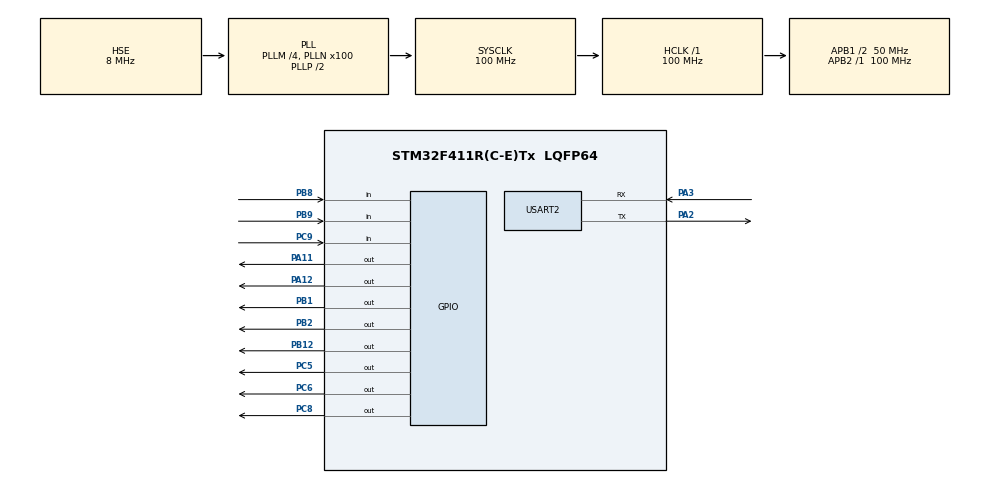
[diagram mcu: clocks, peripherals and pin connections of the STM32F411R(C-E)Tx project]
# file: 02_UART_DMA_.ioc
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Dma.Request0=USART2_RX
Dma.USART2_RX.0.Direction=DMA_PERIPH_TO_MEMORY
Dma.USART2_RX.0.FIFOMode=DMA_FIFOMODE_DISABLE
Dma.USART2_RX.0.Instance=DMA1_Stream5
Dma.USART2_RX.0.MemDataAlignment=DMA_MDATAALIGN_BYTE
Dma.USART2_RX.0.MemInc=DMA_MINC_ENABLE
Dma.USART2_RX.0.Mode=DMA_NORMAL
Dma.USART2_RX.0.PeriphDataAlignment=DMA_PDATAALIGN_BYTE
Dma.USART2_RX.0.PeriphInc=DMA_PINC_DISABLE
Dma.USART2_RX.0.Priority=DMA_PRIORITY_LOW
Mcu.Family=STM32F4
Mcu.Name=STM32F411R(C-E)Tx
Mcu.Package=LQFP64
NVIC.DMA1_Stream5_IRQn=true\:0\:0\:false\:false\:true\:false\:true\:true
NVIC.PriorityGroup=NVIC_PRIORITYGROUP_4
PA11.Signal=GPIO_Output
PA12.Signal=GPIO_Output
PA13.Mode=Serial_Wire
PA13.Signal=SYS_JTMS-SWDIO
PA14.Mode=Serial_Wire
PA14.Signal=SYS_JTCK-SWCLK
PA2.Mode=Asynchronous
PA2.Signal=USART2_TX
PA3.Mode=Asynchronous
PA3.Signal=USART2_RX
PB1.Signal=GPIO_Output
PB12.Signal=GPIO_Output
PB2.Signal=GPIO_Output
PB8.Signal=GPIO_Input
PB9.Signal=GPIO_Input
PC5.Signal=GPIO_Output
PC6.Signal=GPIO_Output
PC8.Signal=GPIO_Output
PC9.Signal=GPIO_Input
PH0\ -\ OSC_IN.Mode=HSE-External-Clock-Source
PH0\ -\ OSC_IN.Signal=RCC_OSC_IN
PH1\ -\ OSC_OUT.Mode=HSE-External-Clock-Source
PH1\ -\ OSC_OUT.Signal=RCC_OSC_OUT
ProjectManager.HeapSize=0x200
ProjectManager.StackSize=0x400
ProjectManager.TargetToolchain=STM32CubeIDE
RCC.48MHZClocksFreq_Value=50000000
RCC.AHBFreq_Value=100000000
RCC.APB1CLKDivider=RCC_HCLK_DIV2
RCC.APB1Freq_Value=50000000
RCC.APB1TimFreq_Value=100000000
RCC.APB2Freq_Value=100000000
RCC.APB2TimFreq_Value=100000000
RCC.CortexFreq_Value=100000000
RCC.HCLKFreq_Value=100000000
RCC.HSE_VALUE=8000000
RCC.HSI_VALUE=16000000
RCC.LSE_VALUE=32768
RCC.PLLM=4
RCC.PLLN=100
RCC.PLLSourceVirtual=RCC_PLLSOURCE_HSE
RCC.SYSCLKFreq_VALUE=100000000
RCC.SYSCLKSource=RCC_SYSCLKSOURCE_PLLCLK
RCC.VCOOutputFreq_Value=200000000
USART2.VirtualMode=VM_ASYNC
board=custom

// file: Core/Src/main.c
/* USER CODE BEGIN Header */
/**
  ******************************************************************************
  * @file           : main.c
  * @brief          : Main program body
  ******************************************************************************
  * @attention
  *
  * Copyright (c) 2026 STMicroelectronics.
  * All rights reserved.
  *
  * This software is licensed under terms that can be found in the LICENSE file
  * in the root directory of this software component.
  * If no LICENSE file comes with this software, it is provided AS-IS.
  *
  ******************************************************************************
  */
/* USER CODE END Header */
#include "main.h"
#include "dma.h"
#include "usart.h"
#include "gpio.h"

/* USER CODE BEGIN Includes */

#include "led.h"
#include "button.h"

/* USER CODE END Includes */

/* USER CODE BEGIN PV */

uint8_t rxData[10];

/* USER CODE END PV */

void SystemClock_Config(void);
/* USER CODE BEGIN PFP */

void HAL_UART_RxCpltCallback(UART_HandleTypeDef *huart)
{
	HAL_UART_Receive_DMA(&huart2, rxData, 1);
}

/* USER CODE END PFP */

int main(void)
{

  /* MCU Configuration--------------------------------------------------------*/

  /* Reset of all peripherals, Initializes the Flash interface and the Systick. */
  HAL_Init();

  /* Configure the system clock */
  SystemClock_Config();

  /* Initialize all configured peripherals */
  MX_GPIO_Init();
  MX_DMA_Init();
  MX_USART2_UART_Init();
  /* USER CODE BEGIN 2 */

  HAL_UART_Receive_DMA(&huart2, rxData, 1);
  uint8_t i = 0;

  /* USER CODE END 2 */

  /* Infinite loop */
  /* USER CODE BEGIN WHILE */
  while (1)
  {

	  if (rxData[0] == 'a') //a 들어가면 LED ON
	  		{
	  			ledSingleOn(i);
	  		}
	  		if (rxData[0] == 'b') //b 들어가면 LED OFF
	  		{
	  			ledSingleOff(i);

	  		}
	  		if (rxData[0] == 'c') //c 들어가면 왼쪽으로 이동
	  		{
	  			ledLeft(&i);
	  			rxData[0] = NULL;	//계속 c인 상태를 반복하므로 rxData를 0으로 초기화
	  		}

	  		if (rxData[0] == 'd') //d 들어가면 오른쪽으로 이동
	  		{
	  			ledRight(&i);
	  			rxData[0] = NULL;
	  		}

    /* USER CODE END WHILE */

  }
}

void SystemClock_Config(void)
{
  RCC_OscInitTypeDef RCC_OscInitStruct = {0};
  RCC_ClkInitTypeDef RCC_ClkInitStruct = {0};

  /** Configure the main internal regulator output voltage
  */
  __HAL_RCC_PWR_CLK_ENABLE();
  __HAL_PWR_VOLTAGESCALING_CONFIG(PWR_REGULATOR_VOLTAGE_SCALE1);

  /** Initializes the RCC Oscillators according to the specified parameters
  * in the RCC_OscInitTypeDef structure.
  */
  RCC_OscInitStruct.OscillatorType = RCC_OSCILLATORTYPE_HSE;
  RCC_OscInitStruct.HSEState = RCC_HSE_BYPASS;
  RCC_OscInitStruct.PLL.PLLState = RCC_PLL_ON;
  RCC_OscInitStruct.PLL.PLLSource = RCC_PLLSOURCE_HSE;
  RCC_OscInitStruct.PLL.PLLM = 4;
  RCC_OscInitStruct.PLL.PLLN = 100;
  RCC_OscInitStruct.PLL.PLLP = RCC_PLLP_DIV2;
  RCC_OscInitStruct.PLL.PLLQ = 4;
  if (HAL_RCC_OscConfig(&RCC_OscInitStruct) != HAL_OK)
  {
    Error_Handler();
  }

  /** Initializes the CPU, AHB and APB buses clocks
  */
  RCC_ClkInitStruct.ClockType = RCC_CLOCKTYPE_HCLK|RCC_CLOCKTYPE_SYSCLK
                              |RCC_CLOCKTYPE_PCLK1|RCC_CLOCKTYPE_PCLK2;
  RCC_ClkInitStruct.SYSCLKSource = RCC_SYSCLKSOURCE_PLLCLK;
  RCC_ClkInitStruct.AHBCLKDivider = RCC_SYSCLK_DIV1;
  RCC_ClkInitStruct.APB1CLKDivider = RCC_HCLK_DIV2;
  RCC_ClkInitStruct.APB2CLKDivider = RCC_HCLK_DIV1;

  if (HAL_RCC_ClockConfig(&RCC_ClkInitStruct, FLASH_LATENCY_3) != HAL_OK)
  {
    Error_Handler();
  }
}

void Error_Handler(void)
{
  __disable_irq();
  while (1)
  {
  }
}
